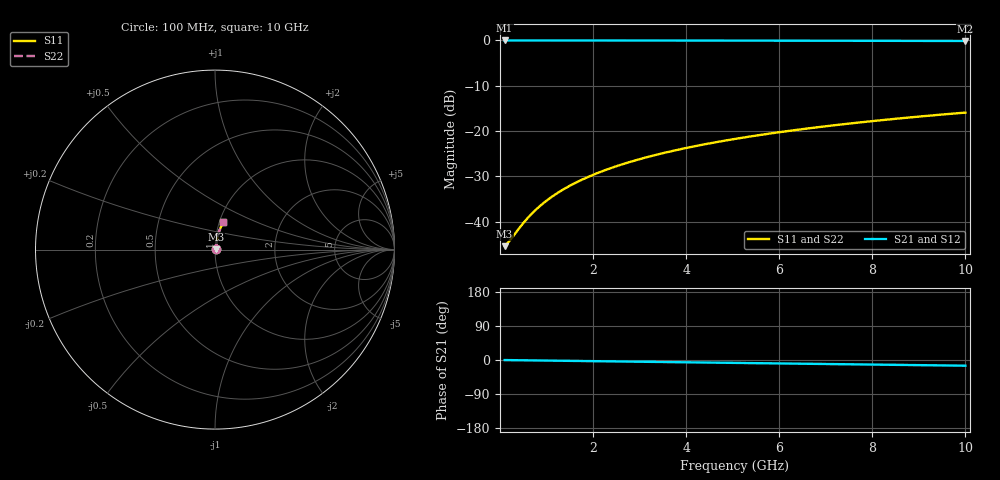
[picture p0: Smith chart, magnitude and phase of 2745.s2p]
# Hz S RI R 50.00
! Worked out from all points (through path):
!   100 points, 100 MHz to 10 GHz, reference 50 ohm
!   highest |S21| = -0.04 dB at 100 MHz (marker M1); lowest = -0.2 dB at 10 GHz (marker M2)
!   group delay of S21, straight-line fit = 4.18 ps
!   lowest |S11| = -45.4 dB at 100 MHz (marker M3), VSWR 1.01, Z = 50.5 + j0.163 ohm
!   |S11| at or under -10 dB: start of sweep to end of sweep
!   |S22| runs from -45.4 to -15.9 dB; largest |S21 - S12| = 0
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1e8  0.00515 0.00161  0.9948 -0.00263  0.9948 -0.00263  0.00515 0.00161
2e8  0.0052 0.00323  0.9948 -0.00525  0.9948 -0.00525  0.0052 0.00323
4e8  0.0053 0.00645  0.9947 -0.0105  0.9947 -0.0105  0.0053 0.00645
5e8  0.00535 0.00806  0.9946 -0.0131  0.9946 -0.0131  0.00535 0.00806
6e8  0.00541 0.00967  0.9946 -0.0158  0.9946 -0.0158  0.00541 0.00967
7e8  0.00548 0.0113  0.9945 -0.0184  0.9945 -0.0184  0.00548 0.0113
9e8  0.00564 0.0145  0.9943 -0.0236  0.9943 -0.0236  0.00564 0.0145
1.1e9  0.00583 0.0177  0.9941 -0.0289  0.9941 -0.0289  0.00583 0.0177
1.3e9  0.00606 0.0209  0.9938 -0.0341  0.9938 -0.0341  0.00606 0.0209
1.5e9  0.00631 0.0242  0.9936 -0.0394  0.9936 -0.0394  0.00631 0.0242
1.8e9  0.00675 0.029  0.9931 -0.0472  0.9931 -0.0472  0.00675 0.029
2.1e9  0.00727 0.0338  0.9925 -0.0551  0.9925 -0.0551  0.00727 0.0338
2.5e9  0.00808 0.0402  0.9916 -0.0655  0.9916 -0.0655  0.00808 0.0402
2.9e9  0.00901 0.0465  0.9905 -0.076  0.9905 -0.076  0.00901 0.0465
3.4e9  0.0104 0.0545  0.989 -0.089  0.989 -0.089  0.0104 0.0545
4.2e9  0.013 0.0671  0.9861 -0.1097  0.9861 -0.1097  0.013 0.0671
5.1e9  0.0165 0.081  0.9821 -0.1328  0.9821 -0.1328  0.0165 0.081
5.9e9  0.0202 0.0933  0.9779 -0.1532  0.9779 -0.1532  0.0202 0.0933
6.7e9  0.0244 0.1054  0.9732 -0.1735  0.9732 -0.1735  0.0244 0.1054
7.5e9  0.0291 0.1173  0.9679 -0.1935  0.9679 -0.1935  0.0291 0.1173
8.4e9  0.035 0.1303  0.9613 -0.2157  0.9613 -0.2157  0.035 0.1303
1e10  0.0468 0.1527  0.9479 -0.2545  0.9479 -0.2545  0.0468 0.1527
